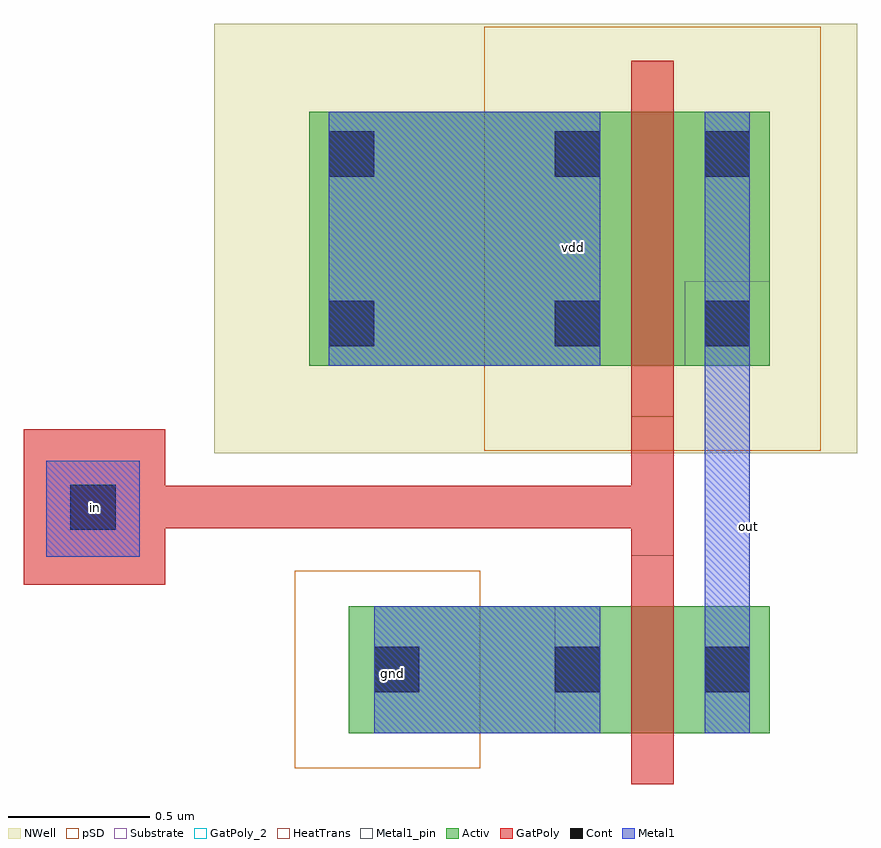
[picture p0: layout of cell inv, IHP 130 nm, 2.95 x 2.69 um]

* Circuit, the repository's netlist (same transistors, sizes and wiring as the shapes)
** sch_path: /home/edsonihp/ihp130_skel/tarefa1/inversor.sch
.subckt inv vdd out in gnd
*.PININFO out:B vdd:B gnd:B in:B
M1 out in gnd gnd sg13_lv_nmos w=0.45u l=0.15u ng=1 m=1
M2 out in vdd vdd sg13_lv_pmos w=0.9u l=0.15u ng=1 m=1
.ends
.end

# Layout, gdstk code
import gdstk
lib = gdstk.Library(unit=1e-6, precision=1e-09)
def R(c, l, rs):  # rectangles x0, y0, x1, y1
    for r in rs: c.add(gdstk.rectangle(r[:2], r[2:], *l))
def P(c, l, *ps):  # polygons
    for p in ps: c.add(gdstk.Polygon(p, *l))
Activ = (1, 0)
GatPoly = (5, 0)
GatPoly_2 = (5, 2)
Cont = (6, 0)
Metal1 = (8, 0)
Metal1_pin = (8, 2)
pSD = (14, 0)
NWell = (31, 0)
Substrate = (40, 0)
HeatTrans = (51, 0)

pmos_1 = lib.new_cell('pmos$1')
R(pmos_1, Activ, [(0,0,0.3,0.3), (0,0,0.83,0.9), (0.53,0,0.83,0.3)])
R(pmos_1, GatPoly, [(0.34,-0.18,0.49,1.08), (0.34,-0.18,0.49,1.08)])
R(pmos_1, Cont, [(0.07,0.07,0.23,0.23), (0.6,0.07,0.76,0.23), (0.07,0.67,0.23,0.83), (0.6,0.67,0.76,0.83)])
R(pmos_1, Metal1, [(0.07,0,0.23,0.9), (0.07,0,0.23,0.9), (0.6,0,0.76,0.9), (0.6,0,0.76,0.9)])
R(pmos_1, pSD, [(-0.18,-0.3,1.01,1.2)])
R(pmos_1, NWell, [(-0.31,-0.31,1.14,1.21)])
R(pmos_1, Substrate, [(0.53,0,0.83,0.3)])
R(pmos_1, HeatTrans, [(0.34,-0.18,0.49,1.08)])
pmos_1.add(gdstk.Label('pmos', (0.415,0.45), layer=63, texttype=0))
pmos_1.add(gdstk.Label('pmos', (0.415,0.45), layer=51, texttype=0))

nmos_1 = lib.new_cell('nmos$1')
R(nmos_1, Activ, [(0,0,0.3,0.3), (0,0,0.83,0.45), (0.53,0,0.83,0.3)])
R(nmos_1, GatPoly, [(0.34,-0.18,0.49,0.63)])
R(nmos_1, GatPoly_2, [(0.34,-0.18,0.49,0.63)])
R(nmos_1, Cont, [(0.07,0.145,0.23,0.305), (0.6,0.145,0.76,0.305)])
R(nmos_1, Metal1, [(0.07,0,0.23,0.45), (0.6,0,0.76,0.45)])
R(nmos_1, Metal1_pin, [(0.07,0,0.23,0.45), (0.6,0,0.76,0.45)])
R(nmos_1, HeatTrans, [(0.34,-0.18,0.49,0.63)])
nmos_1.add(gdstk.Label('nmos', (0.415,0.225), layer=63, texttype=0))
nmos_1.add(gdstk.Label('nmos', (0.415,0.225), layer=51, texttype=0))

inv = lib.new_cell('inv')
R(inv, Activ, [(-1.05,-0.325,-0.36,0.125), (-1.19,0.975,-0.385,1.875)])
P(inv, GatPoly, [(-2.2,0.2),(-2.2,0.75),(-1.7,0.75),(-1.7,0.55),(-0.05,0.55),(-0.05,0.8),(0.1,0.8),(0.1,0.305),(-0.05,0.305),(-0.05,0.4),(-1.7,0.4),(-1.7,0.2)])
R(inv, Cont, [(-0.96,-0.18,-0.8,-0.02), (-2.035,0.395,-1.875,0.555), (-1.12,1.045,-0.96,1.205), (-1.12,1.645,-0.96,1.805)])
R(inv, Metal1, [(-0.96,-0.325,-0.31,0.125), (0.21,-0.075,0.37,1.07), (-2.12,0.3,-1.79,0.64), (-1.12,0.975,-0.16,1.875)])
R(inv, pSD, [(-1.24,-0.45,-0.585,0.25)])
R(inv, NWell, [(-1.525,0.665,-0.695,2.185)])
inv.add(gdstk.Reference(pmos_1, (-0.39,0.975)))
inv.add(gdstk.Reference(nmos_1, (-0.39,-0.325)))
inv.add(gdstk.Label('vdd', (-0.255,1.395), layer=8, texttype=25))
inv.add(gdstk.Label('in', (-1.945,0.475), layer=8, texttype=25))
inv.add(gdstk.Label('out', (0.365,0.405), layer=8, texttype=25))
inv.add(gdstk.Label('gnd', (-0.895,-0.115), layer=8, texttype=25))

lib.write_gds('inv.gds')
